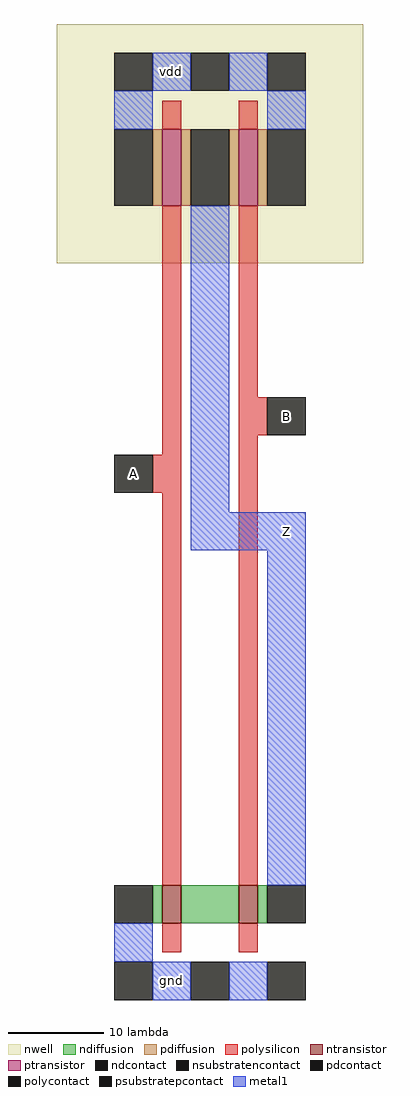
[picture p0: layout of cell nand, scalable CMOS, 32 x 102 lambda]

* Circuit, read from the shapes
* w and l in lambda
.subckt nand A B Z gnd vdd
M1 n1 A gnd gnd nfet w=4 l=2
M2 Z B n1 gnd nfet w=4 l=2
M3 Z A vdd vdd pfet w=8 l=2
M4 vdd B Z vdd pfet w=8 l=2
.ends

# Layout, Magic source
magic
tech scmos
<< nwell >>
rect -15 28 17 53
<< ntransistor >>
rect -4 -41 -2 -37
rect 4 -41 6 -37
<< ptransistor >>
rect -4 34 -2 42
rect 4 34 6 42
<< ndiffusion >>
rect -5 -41 -4 -37
rect -2 -41 4 -37
rect 6 -41 7 -37
<< pdiffusion >>
rect -5 34 -4 42
rect -2 34 -1 42
rect 3 34 4 42
rect 6 34 7 42
<< ndcontact >>
rect -9 -41 -5 -37
rect 7 -41 11 -37
<< pdcontact >>
rect -9 34 -5 42
rect -1 34 3 42
rect 7 34 11 42
<< psubstratepcontact >>
rect -9 -49 -5 -45
rect -1 -49 3 -45
rect 7 -49 11 -45
<< nsubstratencontact >>
rect -9 46 -5 50
rect -1 46 3 50
rect 7 46 11 50
<< polysilicon >>
rect -4 42 -2 45
rect 4 42 6 45
rect -4 8 -2 34
rect -5 4 -2 8
rect -4 -37 -2 4
rect 4 14 6 34
rect 4 10 7 14
rect 4 -37 6 10
rect -4 -44 -2 -41
rect 4 -44 6 -41
<< polycontact >>
rect -9 4 -5 8
rect 7 10 11 14
<< metal1 >>
rect -5 46 -1 50
rect 3 46 7 50
rect -9 42 -5 46
rect 7 42 11 46
rect -1 2 3 34
rect -1 -2 11 2
rect 7 -37 11 -2
rect -9 -45 -5 -41
rect -5 -49 -1 -45
rect 3 -49 7 -45
<< labels >>
rlabel polycontact -7 6 -7 6 1 A
rlabel metal1 9 0 9 0 1 Z
rlabel polycontact 9 12 9 12 1 B
rlabel metal1 -3 48 -3 48 5 vdd
rlabel metal1 -3 -47 -3 -47 1 gnd
<< end >>
